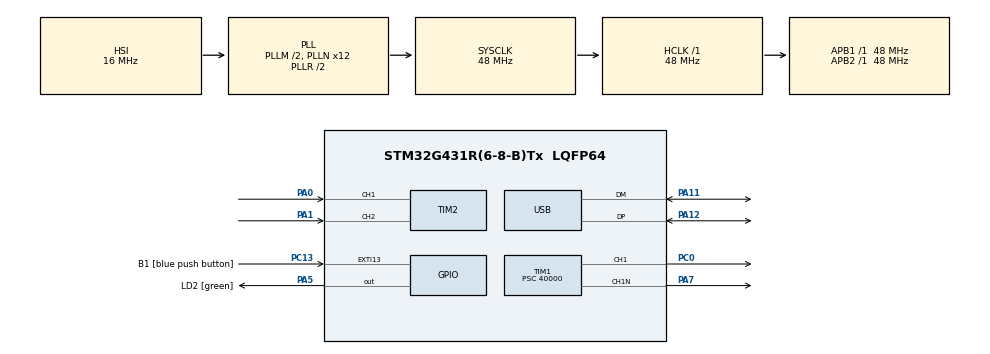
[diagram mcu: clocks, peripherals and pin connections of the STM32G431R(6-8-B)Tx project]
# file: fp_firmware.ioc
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Mcu.Family=STM32G4
Mcu.Name=STM32G431R(6-8-B)Tx
Mcu.Package=LQFP64
NVIC.PriorityGroup=NVIC_PRIORITYGROUP_4
NVIC.USB_LP_IRQn=true\:0\:0\:false\:false\:true\:false\:true
PA0.Signal=S_TIM2_CH1
PA1.Signal=S_TIM2_CH2
PA11.Mode=Device
PA11.Signal=USB_DM
PA12.Mode=Device
PA12.Signal=USB_DP
PA13.GPIO_Label=T_SWDIO
PA13.Mode=Serial_Wire
PA13.Signal=SYS_JTMS-SWDIO
PA14.GPIO_Label=T_SWCLK
PA14.Mode=Serial_Wire
PA14.Signal=SYS_JTCK-SWCLK
PA2.GPIO_Label=LPUART1_TX [STLINKV3E_VCP_RX]
PA2.Signal=LPUART1_TX
PA3.GPIO_Label=LPUART1_RX [STLINKV3E_VCP_TX]
PA3.Signal=LPUART1_RX
PA5.GPIO_Label=LD2 [green]
PA5.Signal=GPIO_Output
PA7.Mode=PWM Generation1 CH1 CH1N
PA7.Signal=TIM1_CH1N
PB3.GPIO_Label=T_SWO
PB3.Signal=SYS_JTDO-SWO
PC0.Signal=S_TIM1_CH1
PC13.GPIO_Label=B1 [blue push button]
PC13.Signal=GPXTI13
PC14-OSC32_IN.Mode=LSE-External-Oscillator
PC14-OSC32_IN.Signal=RCC_OSC32_IN
PC15-OSC32_OUT.Mode=LSE-External-Oscillator
PC15-OSC32_OUT.Signal=RCC_OSC32_OUT
PF0-OSC_IN.Mode=HSE-External-Oscillator
PF0-OSC_IN.Signal=RCC_OSC_IN
PF1-OSC_OUT.Mode=HSE-External-Oscillator
PF1-OSC_OUT.Signal=RCC_OSC_OUT
ProjectManager.HeapSize=0x100
ProjectManager.StackSize=0x400
ProjectManager.TargetToolchain=STM32CubeIDE
RCC.ADC12Freq_Value=48000000
RCC.AHBFreq_Value=48000000
RCC.APB1Freq_Value=48000000
RCC.APB1TimFreq_Value=48000000
RCC.APB2Freq_Value=48000000
RCC.APB2TimFreq_Value=48000000
RCC.CortexFreq_Value=48000000
RCC.EXTERNAL_CLOCK_VALUE=12288000
RCC.HCLKFreq_Value=48000000
RCC.HSE_VALUE=24000000
RCC.HSI48_VALUE=48000000
RCC.HSI_VALUE=16000000
RCC.PLLM=RCC_PLLM_DIV2
RCC.PLLN=12
RCC.RTCClockSelection=RCC_RTCCLKSOURCE_LSE
RCC.SYSCLKFreq_VALUE=48000000
RCC.SYSCLKSource=RCC_SYSCLKSOURCE_PLLCLK
RCC.USBFreq_Value=48000000
RCC.VCOOutputFreq_Value=96000000
SH.S_TIM1_CH1.0=TIM1_CH1,PWM Generation1 CH1 CH1N
SH.S_TIM2_CH1.0=TIM2_CH1,Encoder_Interface
SH.S_TIM2_CH2.0=TIM2_CH2,Encoder_Interface
TIM1.Channel-PWM\ Generation1\ CH1\ CH1N=TIM_CHANNEL_1
TIM1.OCNPolarity_1=TIM_OCNPOLARITY_LOW
TIM1.PeriodNoDither=1000
TIM1.Prescaler=40000
TIM1.PulseNoDither_1=800
TIM2.EncoderMode=TIM_ENCODERMODE_TI12
USB_DEVICE.APP_RX_DATA_SIZE=512
USB_DEVICE.APP_TX_DATA_SIZE=512
USB_DEVICE.CLASS_NAME_FS=CDC
USB_DEVICE.USBD_LPM_ENABLED=0
USB_DEVICE.VirtualMode=Cdc
USB_DEVICE.VirtualModeFS=Cdc_FS
VP_CRC_VS_CRC.Mode=CRC_Activate
VP_SYS_VS_DBSignals.Mode=DisableDeadBatterySignals
VP_TIM1_VS_ClockSourceINT.Mode=Internal
VP_USB_DEVICE_VS_USB_DEVICE_CDC_FS.Mode=CDC_FS
board=NUCLEO-G431RB

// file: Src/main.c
/* USER CODE BEGIN Header */
/**
 ******************************************************************************
 * @file           : main.c
 * @brief          : Main program body
 ******************************************************************************
 * @attention
 *
 * <h2><center>&copy; Copyright (c) 2020 STMicroelectronics.
 * All rights reserved.</center></h2>
 *
 * This software component is licensed by ST under Ultimate Liberty license
 * SLA0044, the "License"; You may not use this file except in compliance with
 * the License. You may obtain a copy of the License at:
 *                             www.st.com/SLA0044
 *
 ******************************************************************************
 */
/* USER CODE END Header */

#include "main.h"
#include "usb_device.h"

/* USER CODE BEGIN Includes */

#include <math.h>
#include <stdbool.h>
#include <string.h>

#include "message_parse.h"
#include "message_send.h"
#include "motion_ctl.h"

/* USER CODE END Includes */

CRC_HandleTypeDef hcrc;

TIM_HandleTypeDef htim1;
TIM_HandleTypeDef htim2;

bool halt;

MOTION_PARAMS param;
int expected_val;

void SystemClock_Config(void);
static void MX_GPIO_Init(void);
static void MX_CRC_Init(void);
static void MX_TIM1_Init(void);
static void MX_TIM2_Init(void);

/* USER CODE BEGIN 0 */

void ProcessMessage(MESSAGE *msg);

/* USER CODE END 0 */

int main(void) {
	/* USER CODE BEGIN 1 */
	halt = true;
	/* USER CODE END 1 */

	/* MCU Configuration--------------------------------------------------------*/

	/* Reset of all peripherals, Initializes the Flash interface and the Systick. */
	HAL_Init();

	/* Configure the system clock */
	SystemClock_Config();

	/* Initialize all configured peripherals */
	MX_GPIO_Init();
	MX_CRC_Init();
	MX_USB_Device_Init();
	MX_TIM1_Init();
	MX_TIM2_Init();
	/* USER CODE BEGIN 2 */

	memset(&param, 0, sizeof(MOTION_PARAMS));
	param.kp = 2;
	param.ki = 0;
	param.kd = 0;
	param.max_lim = 359;
	param.min_lim = 0;

	expected_val = 180;

	/* USER CODE END 2 */

	/* Infinite loop */
	while (1) {

		/* USER CODE BEGIN 3 */

		uint32_t encoder_cnt = TIM2->CNT;
		float comp = CalculateCompensation((expected_val - encoder_cnt),
				&param);
		comp = fabs(comp);
		if (comp > param.max_lim) {
			// outside of max limits
			comp = param.max_lim;
		} else if (comp < param.min_lim) {
			// outside of min limits
			comp = param.min_lim;
		}

		uint32_t pwm_set = (uint32_t) round(comp);

		if (halt) {
			__HAL_TIM_DISABLE(&htim1);
			__HAL_TIM_MOE_DISABLE_UNCONDITIONALLY(&htim1);
		} else {
			__HAL_TIM_ENABLE(&htim1);
			__HAL_TIM_MOE_ENABLE(&htim1);
			__HAL_TIM_SET_COMPARE(&htim1, TIM_CHANNEL_1, pwm_set);
		}

		if (!current_message.processed)
			ProcessMessage(&current_message);

		HAL_Delay(500);
	}
	/* USER CODE END 3 */
}

void SystemClock_Config(void) {
	RCC_OscInitTypeDef RCC_OscInitStruct = { 0 };
	RCC_ClkInitTypeDef RCC_ClkInitStruct = { 0 };
	RCC_PeriphCLKInitTypeDef PeriphClkInit = { 0 };

	/** Configure the main internal regulator output voltage
	 */
	HAL_PWREx_ControlVoltageScaling(PWR_REGULATOR_VOLTAGE_SCALE1);
	/** Initializes the CPU, AHB and APB busses clocks
	 */
	RCC_OscInitStruct.OscillatorType = RCC_OSCILLATORTYPE_HSI;
	RCC_OscInitStruct.HSIState = RCC_HSI_ON;
	RCC_OscInitStruct.HSICalibrationValue = RCC_HSICALIBRATION_DEFAULT;
	RCC_OscInitStruct.PLL.PLLState = RCC_PLL_ON;
	RCC_OscInitStruct.PLL.PLLSource = RCC_PLLSOURCE_HSI;
	RCC_OscInitStruct.PLL.PLLM = RCC_PLLM_DIV2;
	RCC_OscInitStruct.PLL.PLLN = 12;
	RCC_OscInitStruct.PLL.PLLP = RCC_PLLP_DIV2;
	RCC_OscInitStruct.PLL.PLLQ = RCC_PLLQ_DIV2;
	RCC_OscInitStruct.PLL.PLLR = RCC_PLLR_DIV2;
	if (HAL_RCC_OscConfig(&RCC_OscInitStruct) != HAL_OK) {
		Error_Handler();
	}
	/** Initializes the CPU, AHB and APB busses clocks
	 */
	RCC_ClkInitStruct.ClockType = RCC_CLOCKTYPE_HCLK | RCC_CLOCKTYPE_SYSCLK
			| RCC_CLOCKTYPE_PCLK1 | RCC_CLOCKTYPE_PCLK2;
	RCC_ClkInitStruct.SYSCLKSource = RCC_SYSCLKSOURCE_PLLCLK;
	RCC_ClkInitStruct.AHBCLKDivider = RCC_SYSCLK_DIV1;
	RCC_ClkInitStruct.APB1CLKDivider = RCC_HCLK_DIV1;
	RCC_ClkInitStruct.APB2CLKDivider = RCC_HCLK_DIV1;

	if (HAL_RCC_ClockConfig(&RCC_ClkInitStruct, FLASH_LATENCY_2) != HAL_OK) {
		Error_Handler();
	}
	/** Initializes the peripherals clocks
	 */
	PeriphClkInit.PeriphClockSelection = RCC_PERIPHCLK_USB;
	PeriphClkInit.UsbClockSelection = RCC_USBCLKSOURCE_PLL;
	if (HAL_RCCEx_PeriphCLKConfig(&PeriphClkInit) != HAL_OK) {
		Error_Handler();
	}
}

static void MX_CRC_Init(void) {

	hcrc.Instance = CRC;
	hcrc.Init.DefaultPolynomialUse = DEFAULT_POLYNOMIAL_ENABLE;
	hcrc.Init.DefaultInitValueUse = DEFAULT_INIT_VALUE_ENABLE;
	hcrc.Init.InputDataInversionMode = CRC_INPUTDATA_INVERSION_NONE;
	hcrc.Init.OutputDataInversionMode = CRC_OUTPUTDATA_INVERSION_DISABLE;
	hcrc.InputDataFormat = CRC_INPUTDATA_FORMAT_BYTES;
	if (HAL_CRC_Init(&hcrc) != HAL_OK) {
		Error_Handler();
	}

}

static void MX_TIM1_Init(void) {

	TIM_ClockConfigTypeDef sClockSourceConfig = { 0 };
	TIM_MasterConfigTypeDef sMasterConfig = { 0 };
	TIM_OC_InitTypeDef sConfigOC = { 0 };
	TIM_BreakDeadTimeConfigTypeDef sBreakDeadTimeConfig = { 0 };

	htim1.Instance = TIM1;
	htim1.Init.Prescaler = 47;
	htim1.Init.CounterMode = TIM_COUNTERMODE_UP;
	htim1.Init.Period = 360 - 1; // set the period to map directly to the encoder input (0-359).
	htim1.Init.ClockDivision = TIM_CLOCKDIVISION_DIV1;
	htim1.Init.RepetitionCounter = 0;
	htim1.Init.AutoReloadPreload = TIM_AUTORELOAD_PRELOAD_DISABLE;
	if (HAL_TIM_Base_Init(&htim1) != HAL_OK) {
		Error_Handler();
	}
	sClockSourceConfig.ClockSource = TIM_CLOCKSOURCE_INTERNAL;
	if (HAL_TIM_ConfigClockSource(&htim1, &sClockSourceConfig) != HAL_OK) {
		Error_Handler();
	}
	if (HAL_TIM_PWM_Init(&htim1) != HAL_OK) {
		Error_Handler();
	}
	sMasterConfig.MasterOutputTrigger = TIM_TRGO_RESET;
	sMasterConfig.MasterOutputTrigger2 = TIM_TRGO2_RESET;
	sMasterConfig.MasterSlaveMode = TIM_MASTERSLAVEMODE_DISABLE;
	if (HAL_TIMEx_MasterConfigSynchronization(&htim1, &sMasterConfig)
			!= HAL_OK) {
		Error_Handler();
	}
	sConfigOC.OCMode = TIM_OCMODE_PWM1;
	sConfigOC.Pulse = 180; // initially set the duty cycle to 1/2
	sConfigOC.OCPolarity = TIM_OCPOLARITY_HIGH;
	sConfigOC.OCNPolarity = TIM_OCNPOLARITY_HIGH;
	sConfigOC.OCFastMode = TIM_OCFAST_DISABLE;
	sConfigOC.OCIdleState = TIM_OCIDLESTATE_RESET;
	sConfigOC.OCNIdleState = TIM_OCNIDLESTATE_RESET;
	if (HAL_TIM_PWM_ConfigChannel(&htim1, &sConfigOC, TIM_CHANNEL_1)
			!= HAL_OK) {
		Error_Handler();
	}
	sBreakDeadTimeConfig.OffStateRunMode = TIM_OSSR_DISABLE;
	sBreakDeadTimeConfig.OffStateIDLEMode = TIM_OSSI_DISABLE;
	sBreakDeadTimeConfig.LockLevel = TIM_LOCKLEVEL_OFF;
	sBreakDeadTimeConfig.DeadTime = 0;
	sBreakDeadTimeConfig.BreakState = TIM_BREAK_DISABLE;
	sBreakDeadTimeConfig.BreakPolarity = TIM_BREAKPOLARITY_HIGH;
	sBreakDeadTimeConfig.BreakFilter = 0;
	sBreakDeadTimeConfig.BreakAFMode = TIM_BREAK_AFMODE_INPUT;
	sBreakDeadTimeConfig.Break2State = TIM_BREAK2_DISABLE;
	sBreakDeadTimeConfig.Break2Polarity = TIM_BREAK2POLARITY_HIGH;
	sBreakDeadTimeConfig.Break2Filter = 0;
	sBreakDeadTimeConfig.Break2AFMode = TIM_BREAK_AFMODE_INPUT;
	sBreakDeadTimeConfig.AutomaticOutput = TIM_AUTOMATICOUTPUT_DISABLE;
	if (HAL_TIMEx_ConfigBreakDeadTime(&htim1, &sBreakDeadTimeConfig)
			!= HAL_OK) {
		Error_Handler();
	}
	/* USER CODE BEGIN TIM1_Init 2 */

	/* begin PWM and !PWM on output channel */
	HAL_TIM_PWM_Start(&htim1, TIM_CHANNEL_1);
	HAL_TIMEx_PWMN_Start(&htim1, TIM_CHANNEL_1);

	/* USER CODE END TIM1_Init 2 */
	HAL_TIM_MspPostInit(&htim1);

}

static void MX_TIM2_Init(void) {

	TIM_Encoder_InitTypeDef sConfig = { 0 };
	TIM_MasterConfigTypeDef sMasterConfig = { 0 };

	htim2.Instance = TIM2;
	htim2.Init.Prescaler = 0;
	htim2.Init.CounterMode = TIM_COUNTERMODE_UP;
	htim2.Init.Period = 360 - 1; // Set the auto reload period so the input value can be from 0 to 359
	htim2.Init.ClockDivision = TIM_CLOCKDIVISION_DIV1;
	htim2.Init.AutoReloadPreload = TIM_AUTORELOAD_PRELOAD_DISABLE;
	sConfig.EncoderMode = TIM_ENCODERMODE_TI12;
	sConfig.IC1Polarity = TIM_ICPOLARITY_RISING;
	sConfig.IC1Selection = TIM_ICSELECTION_DIRECTTI;
	sConfig.IC1Prescaler = TIM_ICPSC_DIV1;
	sConfig.IC1Filter = 0;
	sConfig.IC2Polarity = TIM_ICPOLARITY_RISING;
	sConfig.IC2Selection = TIM_ICSELECTION_DIRECTTI;
	sConfig.IC2Prescaler = TIM_ICPSC_DIV1;
	sConfig.IC2Filter = 0;
	if (HAL_TIM_Encoder_Init(&htim2, &sConfig) != HAL_OK) {
		Error_Handler();
	}
	sMasterConfig.MasterOutputTrigger = TIM_TRGO_RESET;
	sMasterConfig.MasterSlaveMode = TIM_MASTERSLAVEMODE_DISABLE;
	if (HAL_TIMEx_MasterConfigSynchronization(&htim2, &sMasterConfig)
			!= HAL_OK) {
		Error_Handler();
	}
	/* USER CODE BEGIN TIM2_Init 2 */

	HAL_TIM_Encoder_Start(&htim2, TIM_CHANNEL_ALL);

	/* USER CODE END TIM2_Init 2 */

}

static void MX_GPIO_Init(void) {
	GPIO_InitTypeDef GPIO_InitStruct = { 0 };

	/* GPIO Ports Clock Enable */
	__HAL_RCC_GPIOC_CLK_ENABLE();
	__HAL_RCC_GPIOF_CLK_ENABLE();
	__HAL_RCC_GPIOA_CLK_ENABLE();
	__HAL_RCC_GPIOB_CLK_ENABLE();

	/*Configure GPIO pin Output Level */
	HAL_GPIO_WritePin(LD2_GPIO_Port, LD2_Pin, GPIO_PIN_RESET);

	/*Configure GPIO pin : B1_Pin */
	GPIO_InitStruct.Pin = B1_Pin;
	GPIO_InitStruct.Mode = GPIO_MODE_IT_RISING;
	GPIO_InitStruct.Pull = GPIO_NOPULL;
	HAL_GPIO_Init(B1_GPIO_Port, &GPIO_InitStruct);

	/*Configure GPIO pins : LPUART1_TX_Pin LPUART1_RX_Pin */
	GPIO_InitStruct.Pin = LPUART1_TX_Pin | LPUART1_RX_Pin;
	GPIO_InitStruct.Mode = GPIO_MODE_AF_PP;
	GPIO_InitStruct.Pull = GPIO_NOPULL;
	GPIO_InitStruct.Speed = GPIO_SPEED_FREQ_LOW;
	GPIO_InitStruct.Alternate = GPIO_AF12_LPUART1;
	HAL_GPIO_Init(GPIOA, &GPIO_InitStruct);

	/*Configure GPIO pin : LD2_Pin */
	GPIO_InitStruct.Pin = LD2_Pin;
	GPIO_InitStruct.Mode = GPIO_MODE_OUTPUT_PP;
	GPIO_InitStruct.Pull = GPIO_NOPULL;
	GPIO_InitStruct.Speed = GPIO_SPEED_FREQ_LOW;
	HAL_GPIO_Init(LD2_GPIO_Port, &GPIO_InitStruct);

}

/* USER CODE BEGIN 4 */
void ProcessMessage(MESSAGE *msg) {

	if (msg->isStop) {
		halt = true;
		return;
	} else if (msg->isStart) {
		halt = false;
		return;
	}

	int len = 0;
	switch (msg->id) {
	case 'P': // set p
		param.kp = msg->numeric / 1000;
		break;
	case 'p': // get p
		len = SendKP(param.kp * 1000);
		break;
	case 'I': // set I
		param.ki = msg->numeric / 1000;
		break;
	case 'i': // get i
		len = SendKI(param.ki * 1000);
		break;
	case 'D': // set D
		param.kd = msg->numeric / 1000;
		break;
	case 'd': // get d
		len = SendKD(param.kd * 1000);
		break;
	case 'E': // set encoder val
		expected_val = (int) truncf(msg->numeric / 1000);
		break;
	case 'e': // get encoder val
		len = SendEncoder(TIM2->CNT*1000);
		break;
	}

	// Send any pending message
	if (len != 0) {
		CDC_Transmit_FS((uint8_t*)send_buf, len);
	}
	msg->processed = true;
}
/* USER CODE END 4 */

void Error_Handler(void) {
}

/************************ (C) COPYRIGHT STMicroelectronics *****END OF FILE****/
